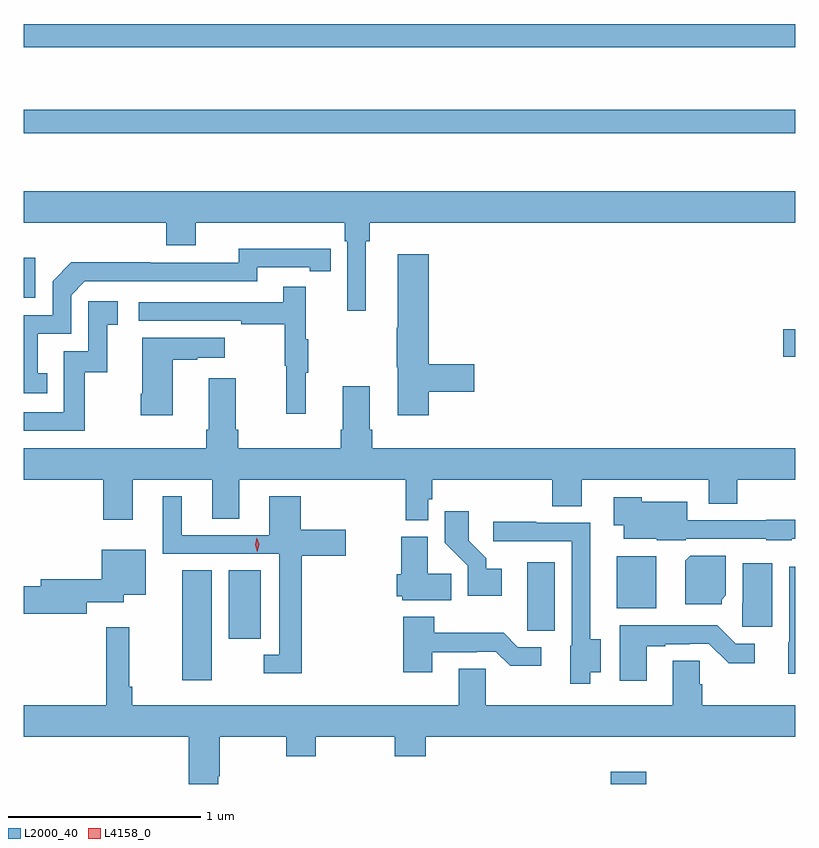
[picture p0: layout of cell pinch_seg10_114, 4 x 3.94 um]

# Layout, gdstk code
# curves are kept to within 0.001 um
import gdstk
lib = gdstk.Library(unit=1e-6, precision=1e-09)
def R(c, l, rs):  # rectangles x0, y0, x1, y1
    for r in rs: c.add(gdstk.rectangle(r[:2], r[2:], *l))
def P(c, l, *ps):  # polygons
    for p in ps: c.add(gdstk.Polygon(p, *l))
L2000_40 = (2000, 40)
L4158_0 = (4158, 0)

pinch_seg10_114 = lib.new_cell('pinch_seg10_114')
R(pinch_seg10_114, L2000_40, [(651.068,1292.08,651.251,1292.143), (648.845,1292.619,649,1293.188), (649.088,1292.832,649.252,1293.188), (651.098,1292.99,651.304,1293.26), (651.96,1294.294,652.024,1294.436), (648.024,1294.599,648.084,1294.807), (648.024,1295.454,652.024,1295.575), (648.024,1295.898,652.024,1296.019)])
P(pinch_seg10_114, L2000_40, [(649.798,1294.892),(649.817,1294.892),(649.817,1294.988),(652.024,1294.988),(652.024,1295.152),(648.024,1295.152),(648.024,1294.988),(648.764,1294.988),(648.764,1294.871),(648.916,1294.871),(648.916,1294.988),(649.688,1294.988),(649.688,1294.892),(649.701,1294.892),(649.701,1294.533),(649.798,1294.533)],
  [(648.146,1294.209),(648.097,1294.209),(648.097,1294.413),(648.27,1294.413),(648.27,1294.614),(648.342,1294.686),(649.236,1294.686),(649.236,1294.758),(649.508,1294.758),(649.508,1294.738),(649.616,1294.738),(649.616,1294.854),(649.14,1294.855),(649.14,1294.782),(648.68,1294.782),(648.68,1294.784),(648.272,1294.784),(648.174,1294.686),(648.174,1294.509),(648.024,1294.509),(648.024,1294.104),(648.146,1294.104)],
  [(650.123,1294.114),(650.359,1294.114),(650.359,1294.256),(650.123,1294.256),(650.123,1294.825),(649.964,1294.825),(649.964,1294.445),(649.957,1294.445),(649.957,1294.239),(649.964,1294.239),(649.964,1293.99),(650.123,1293.99)],
  [(649.487,1294.211),(649.498,1294.211),(649.498,1294.385),(649.487,1294.385),(649.487,1294.657),(649.369,1294.657),(649.369,1294.578),(648.621,1294.578),(648.621,1294.482),(649.153,1294.482),(649.153,1294.462),(649.377,1294.462),(649.377,1294.248),(649.384,1294.248),(649.384,1293.999),(649.487,1293.999)],
  [(648.34,1294.215),(648.458,1294.215),(648.458,1294.461),(648.511,1294.461),(648.511,1294.582),(648.36,1294.582),(648.36,1294.323),(648.231,1294.323),(648.231,1294.008),(648.024,1294.008),(648.024,1293.912),(648.34,1293.912)],
  [(648.796,1294.279),(648.923,1294.279),(648.923,1294.289),(649.066,1294.289),(649.066,1294.393),(648.638,1294.393),(648.638,1294.102),(648.631,1294.102),(648.631,1293.99),(648.796,1293.99)],
  [(649.832,1293.916),(649.819,1293.916),(649.819,1294.141),(649.679,1294.141),(649.679,1293.916),(649.667,1293.916),(649.667,1293.82),(649.136,1293.82),(649.136,1293.916),(649.123,1293.916),(649.123,1294.183),(648.983,1294.183),(648.983,1293.916),(648.971,1293.916),(648.971,1293.82),(648.024,1293.82),(648.024,1293.656),(648.437,1293.656),(648.437,1293.45),(648.589,1293.45),(648.589,1293.656),(649.001,1293.656),(649.001,1293.454),(649.141,1293.454),(649.141,1293.656),(650.005,1293.656),(650.005,1293.446),(650.121,1293.446),(650.121,1293.555),(650.141,1293.555),(650.141,1293.656),(650.765,1293.656),(650.765,1293.52),(650.917,1293.52),(650.917,1293.656),(651.575,1293.656),(651.575,1293.532),(651.723,1293.532),(651.723,1293.656),(652.024,1293.656),(652.024,1293.82),(649.832,1293.82)],
  [(649.466,1293.263),(649.693,1293.263),(649.693,1293.397),(649.46,1293.397),(649.46,1293.571),(649.298,1293.571),(649.298,1293.369),(648.844,1293.369),(648.844,1293.571),(648.746,1293.571),(648.746,1293.273),(649.35,1293.273),(649.35,1292.751),(649.269,1292.751),(649.269,1292.654),(649.466,1292.654)],
  [(651.456,1293.351),(651.873,1293.351),(651.873,1293.344),(652.005,1293.344),(652.005,1293.35),(652.024,1293.35),(652.024,1293.449),(651.873,1293.449),(651.873,1293.447),(651.463,1293.447),(651.463,1293.544),(651.228,1293.544),(651.228,1293.565),(651.083,1293.565),(651.083,1293.422),(651.134,1293.422),(651.134,1293.35),(651.306,1293.35),(651.306,1293.344),(651.456,1293.344)],
  [(650.503,1293.196),(650.422,1293.196),(650.422,1293.251),(650.332,1293.341),(650.332,1293.493),(650.206,1293.493),(650.206,1293.33),(650.325,1293.211),(650.325,1293.056),(650.503,1293.056)],
  [(650.962,1292.66),(651.016,1292.66),(651.016,1292.831),(650.962,1292.831),(650.962,1293.435),(650.681,1293.435),(650.681,1293.438),(650.457,1293.438),(650.457,1293.339),(650.865,1293.339),(650.865,1292.796),(650.858,1292.796),(650.858,1292.6),(650.962,1292.6)],
  [(650.24,1293.17),(650.119,1293.17),(650.119,1293.361),(649.982,1293.361),(649.982,1293.168),(649.958,1293.168),(649.958,1293.054),(649.986,1293.054),(649.986,1293.032),(650.24,1293.032)],
  [(648.352,1293.023),(648.544,1293.023),(648.544,1293.062),(648.658,1293.062),(648.658,1293.295),(648.428,1293.295),(648.428,1293.14),(648.113,1293.14),(648.113,1293.104),(648.024,1293.104),(648.024,1292.962),(648.352,1292.962)],
  [(651.642,1293.036),(651.664,1293.058),(651.664,1293.262),(651.478,1293.262),(651.452,1293.236),(651.452,1293.011),(651.642,1293.011)],
  [(650.776,1293.229),(650.633,1293.229),(650.633,1292.986),(650.634,1292.986),(650.634,1292.875),(650.776,1292.875)],
  [(651.904,1293.223),(651.752,1293.223),(651.752,1293.018),(651.748,1293.018),(651.748,1292.895),(651.904,1292.895)],
  [(652.024,1293.205),(651.992,1293.205),(651.992,1292.814),(651.986,1292.814),(651.986,1292.652),(652.024,1292.652)],
  [(650.143,1292.763),(650.372,1292.763),(650.372,1292.766),(650.472,1292.766),(650.545,1292.693),(650.707,1292.693),(650.707,1292.79),(650.586,1292.79),(650.513,1292.863),(650.151,1292.863),(650.151,1292.947),(649.991,1292.947),(649.991,1292.658),(650.143,1292.658)],
  [(651.253,1292.793),(651.349,1292.793),(651.349,1292.805),(651.476,1292.805),(651.476,1292.808),(651.576,1292.808),(651.679,1292.706),(651.814,1292.706),(651.814,1292.808),(651.714,1292.808),(651.62,1292.902),(651.113,1292.902),(651.113,1292.616),(651.253,1292.616)],
  [(649.033,1292.12),(649.041,1292.12),(649.041,1292.324),(649.384,1292.324),(649.384,1292.225),(649.539,1292.225),(649.539,1292.324),(649.948,1292.324),(649.948,1292.225),(650.108,1292.225),(650.108,1292.324),(652.024,1292.324),(652.024,1292.488),(651.542,1292.488),(651.542,1292.598),(651.528,1292.598),(651.528,1292.72),(651.389,1292.72),(651.389,1292.488),(650.418,1292.488),(650.418,1292.678),(650.279,1292.678),(650.279,1292.488),(648.587,1292.488),(648.587,1292.584),(648.572,1292.584),(648.572,1292.893),(648.451,1292.893),(648.451,1292.488),(648.024,1292.488),(648.024,1292.324),(648.881,1292.324),(648.881,1292.08),(649.033,1292.08)])
P(pinch_seg10_114, L4158_0, [(649.235,1293.285),(649.235,1293.285),(649.224,1293.321),(649.233,1293.357),(649.233,1293.357),(649.233,1293.357),(649.244,1293.322),(649.236,1293.285)])

lib.write_gds('pinch_seg10_114.gds')
